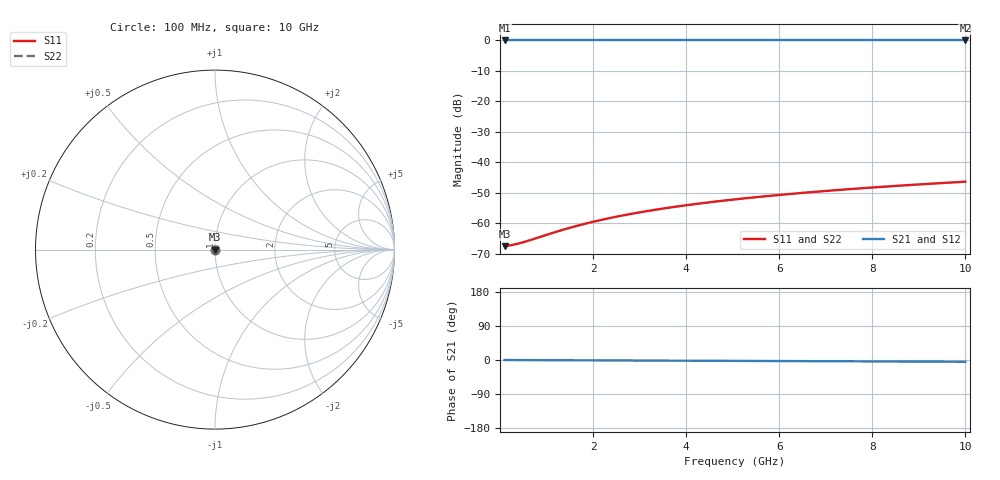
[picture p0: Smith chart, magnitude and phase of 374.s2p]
# Hz S RI R 50.00
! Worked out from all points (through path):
!   100 points, 100 MHz to 10 GHz, reference 50 ohm
!   highest |S21| = 0.00 dB at 100 MHz (marker M1); lowest = 0.0 dB at 10 GHz (marker M2)
!   lowest |S11| = -67.4 dB at 100 MHz (marker M3), VSWR 1.00, Z = 50 + j0.00483 ohm
!   |S11| at or under -10 dB: start of sweep to end of sweep
!   |S22| runs from -67.4 to -46.3 dB; largest |S21 - S12| = 0
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1e8  0.000422 4.83e-05  0.9996 -0.000808  0.9996 -0.000808  0.000422 4.83e-05
2e8  0.000424 9.66e-05  0.9996 -0.00162  0.9996 -0.00162  0.000424 9.66e-05
3e8  0.000426 0.000145  0.9996 -0.00243  0.9996 -0.00243  0.000426 0.000145
4e8  0.000428 0.000193  0.9996 -0.00323  0.9996 -0.00323  0.000428 0.000193
5e8  0.000429 0.000241  0.9996 -0.00404  0.9996 -0.00404  0.000429 0.000241
1.3e9  0.00044 0.000627  0.9995 -0.0105  0.9995 -0.0105  0.00044 0.000627
1.5e9  0.000443 0.000724  0.9995 -0.0121  0.9995 -0.0121  0.000443 0.000724
1.8e9  0.000448 0.000868  0.9994 -0.0146  0.9994 -0.0146  0.000448 0.000868
2.1e9  0.000454 0.00101  0.9994 -0.017  0.9994 -0.017  0.000454 0.00101
2.5e9  0.000462 0.0012  0.9993 -0.0202  0.9993 -0.0202  0.000462 0.0012
2.9e9  0.000471 0.0014  0.9993 -0.0235  0.9993 -0.0235  0.000471 0.0014
3.4e9  0.000485 0.00164  0.9992 -0.0275  0.9992 -0.0275  0.000485 0.00164
3.8e9  0.000496 0.00183  0.9991 -0.0307  0.9991 -0.0307  0.000496 0.00183
4.2e9  0.00051 0.00202  0.9989 -0.034  0.9989 -0.034  0.00051 0.00202
4.6e9  0.000524 0.00221  0.9988 -0.0372  0.9988 -0.0372  0.000524 0.00221
5.1e9  0.000544 0.00245  0.9987 -0.0413  0.9987 -0.0413  0.000544 0.00245
5.9e9  0.000579 0.00283  0.9984 -0.0478  0.9984 -0.0478  0.000579 0.00283
6.7e9  0.000619 0.00321  0.998 -0.0542  0.998 -0.0542  0.000619 0.00321
7.5e9  0.000664 0.00359  0.9976 -0.0607  0.9976 -0.0607  0.000664 0.00359
8.4e9  0.000721 0.00401  0.9972 -0.068  0.9972 -0.068  0.000721 0.00401
9.2e9  0.000777 0.00439  0.9967 -0.0745  0.9967 -0.0745  0.000777 0.00439
1e10  0.000838 0.00477  0.9962 -0.081  0.9962 -0.081  0.000838 0.00477
